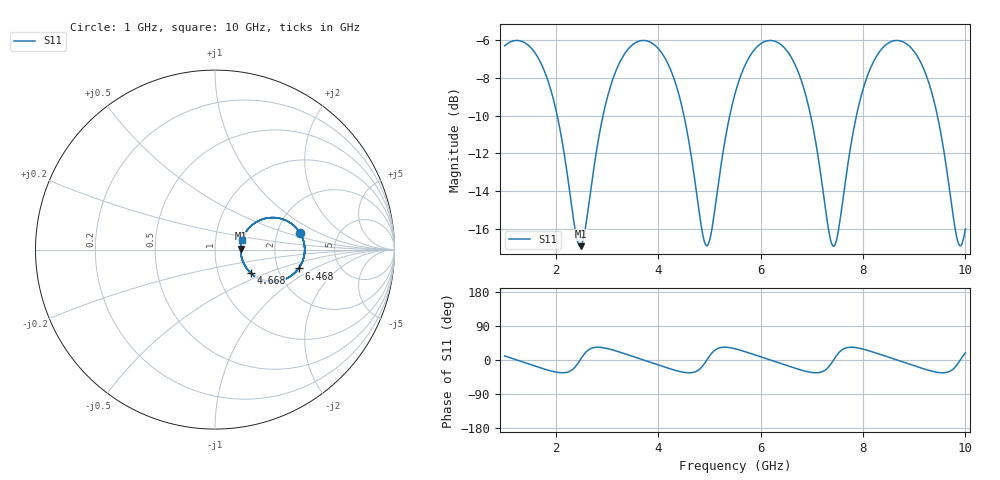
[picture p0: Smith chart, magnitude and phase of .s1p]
!Created with skrf (http://scikit-rf.org).
# GHz S RI R 50.0
!freq ReS11 ImS11
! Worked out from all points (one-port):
!   401 points, 1 GHz to 10 GHz, reference 50 ohm
!   lowest |S11| = -16.9 dB at 2.485 GHz (marker M1), VSWR 1.33, Z = 66.6 + j0.707 ohm
!   |S11| at or under -10 dB: 2.028 GHz to 2.922 GHz (894.3 MHz wide, 36.1 % of centre); 4.503 GHz to 5.397 GHz (894.4 MHz wide, 18.1 % of centre); 6.978 GHz to 7.872 GHz (894.3 MHz wide, 12 % of centre)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
!   S11 on the Smith chart (normalised r, x): 1 GHz: 2.70, +0.64; 4.668 GHz: 1.43, -0.39; 6.468 GHz: 2.61, -0.71; 10 GHz: 1.35, +0.14
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1  0.4753 0.0904
1.315  0.4974 -0.0305
1.63  0.434 -0.1387
2.125  0.2246 -0.1499
2.3725  0.1506 -0.0524
2.485  0.1428 0.0052
2.89  0.2524 0.1645
3.25  0.4095 0.1554
3.79  0.4973 -0.0307
4.375  0.3255 -0.1787
4.6675  0.1981 -0.1292
4.87  0.1478 -0.0409
4.9825  0.1438 0.0168
5.5  0.314 0.1786
6.0175  0.4872 0.0661
6.4675  0.466 -0.105
6.625  0.4186 -0.1499
7.0075  0.2535 -0.165
7.4125  0.1428 -0.00649
7.525  0.1502 0.0511
7.75  0.2145 0.1429
7.975  0.3139 0.1783
8.245  0.4256 0.1451
8.56  0.4955 0.0403
8.875  0.4801 -0.0816
9.415  0.284 -0.1748
9.8425  0.1455 -0.0295
10  0.1504 0.0509
